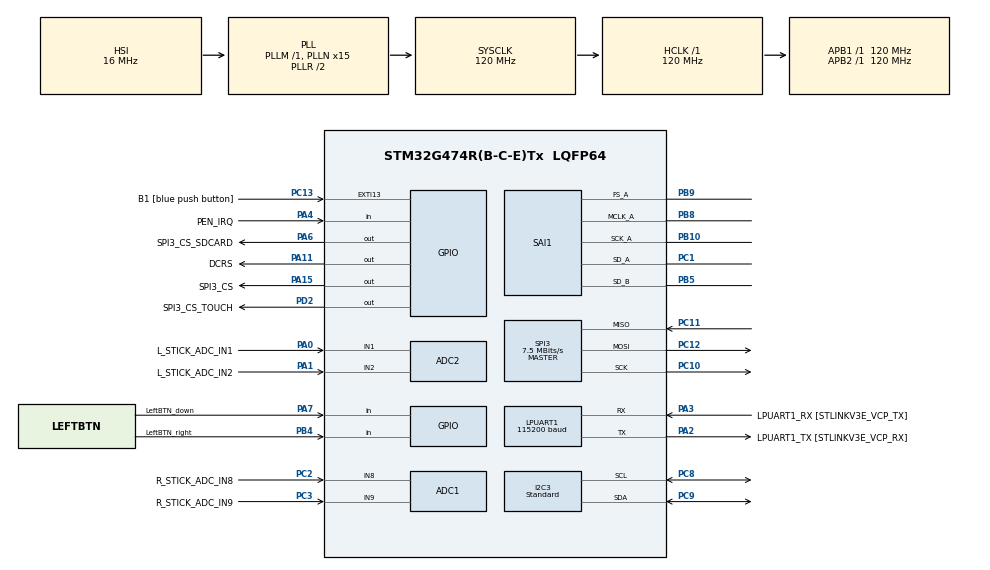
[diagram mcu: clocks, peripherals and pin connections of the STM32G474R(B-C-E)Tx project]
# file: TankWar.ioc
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ADC1.Channel-1\#ChannelRegularConversion=ADC_CHANNEL_8
ADC1.Channel-2\#ChannelRegularConversion=ADC_CHANNEL_9
ADC1.ContinuousConvMode=DISABLE
ADC1.DiscontinuousConvMode=ENABLE
ADC1.NbrOfConversion=2
ADC1.NbrOfConversionFlag=1
ADC1.OffsetNumber-1\#ChannelRegularConversion=ADC_OFFSET_NONE
ADC1.OffsetNumber-2\#ChannelRegularConversion=ADC_OFFSET_NONE
ADC1.Overrun=ADC_OVR_DATA_PRESERVED
ADC1.Rank-1\#ChannelRegularConversion=1
ADC1.Rank-2\#ChannelRegularConversion=2
ADC1.SamplingTime-1\#ChannelRegularConversion=ADC_SAMPLETIME_6CYCLES_5
ADC1.SamplingTime-2\#ChannelRegularConversion=ADC_SAMPLETIME_6CYCLES_5
ADC1.master=1
ADC2.Channel-0\#ChannelRegularConversion=ADC_CHANNEL_1
ADC2.Channel-1\#ChannelRegularConversion=ADC_CHANNEL_2
ADC2.ContinuousConvMode=DISABLE
ADC2.DiscontinuousConvMode=ENABLE
ADC2.NbrOfConversion=2
ADC2.NbrOfConversionFlag=1
ADC2.OffsetNumber-0\#ChannelRegularConversion=ADC_OFFSET_NONE
ADC2.OffsetNumber-1\#ChannelRegularConversion=ADC_OFFSET_NONE
ADC2.Overrun=ADC_OVR_DATA_PRESERVED
ADC2.Rank-0\#ChannelRegularConversion=1
ADC2.Rank-1\#ChannelRegularConversion=2
ADC2.SamplingTime-0\#ChannelRegularConversion=ADC_SAMPLETIME_6CYCLES_5
ADC2.SamplingTime-1\#ChannelRegularConversion=ADC_SAMPLETIME_6CYCLES_5
Dma.Request0=SAI1_A
Dma.SAI1_A.0.Direction=DMA_MEMORY_TO_PERIPH
Dma.SAI1_A.0.EventEnable=DISABLE
Dma.SAI1_A.0.Instance=DMA1_Channel3
Dma.SAI1_A.0.MemDataAlignment=DMA_MDATAALIGN_HALFWORD
Dma.SAI1_A.0.MemInc=DMA_MINC_ENABLE
Dma.SAI1_A.0.Mode=DMA_NORMAL
Dma.SAI1_A.0.PeriphDataAlignment=DMA_PDATAALIGN_HALFWORD
Dma.SAI1_A.0.PeriphInc=DMA_PINC_DISABLE
Dma.SAI1_A.0.Polarity=HAL_DMAMUX_REQ_GEN_RISING
Dma.SAI1_A.0.Priority=DMA_PRIORITY_LOW
Dma.SAI1_A.0.RequestNumber=1
Dma.SAI1_A.0.SignalID=NONE
Dma.SAI1_A.0.SyncEnable=DISABLE
Dma.SAI1_A.0.SyncPolarity=HAL_DMAMUX_SYNC_NO_EVENT
Dma.SAI1_A.0.SyncRequestNumber=1
Dma.SAI1_A.0.SyncSignalID=NONE
I2C3.I2C_Speed_Mode=I2C_Standard
I2C3.Timing=0x307075B1
LPUART1.BaudRate=115200
LPUART1.WordLength=UART_WORDLENGTH_8B
Mcu.Family=STM32G4
Mcu.Name=STM32G474R(B-C-E)Tx
Mcu.Package=LQFP64
NVIC.DMA1_Channel3_IRQn=true\:0\:0\:false\:false\:true\:false\:true\:true
NVIC.EXTI15_10_IRQn=true\:0\:0\:false\:false\:true\:true\:true\:true
NVIC.PriorityGroup=NVIC_PRIORITYGROUP_4
NVIC.RNG_IRQn=true\:0\:0\:false\:false\:true\:true\:true\:true
NVIC.TIM4_IRQn=true\:0\:0\:false\:false\:true\:true\:true\:true
NVIC.TIM5_IRQn=true\:0\:0\:false\:false\:true\:true\:true\:true
NVIC.TIM6_DAC_IRQn=true\:0\:0\:false\:false\:true\:true\:true\:true
PA0.GPIO_Label=L_STICK_ADC_IN1
PA0.Mode=IN1-Single-Ended
PA0.Signal=ADC2_IN1
PA1.GPIO_Label=L_STICK_ADC_IN2
PA1.Mode=IN2-Single-Ended
PA1.Signal=ADC2_IN2
PA11.GPIO_Label=DCRS
PA11.GPIO_Speed=GPIO_SPEED_FREQ_VERY_HIGH
PA11.Signal=GPIO_Output
PA13.GPIO_Label=T_SWDIO
PA13.Mode=Serial_Wire
PA13.Signal=SYS_JTMS-SWDIO
PA14.GPIO_Label=T_SWCLK
PA14.Mode=Serial_Wire
PA14.Signal=SYS_JTCK-SWCLK
PA15.GPIO_Label=SPI3_CS
PA15.GPIO_PuPd=GPIO_PULLUP
PA15.GPIO_Speed=GPIO_SPEED_FREQ_VERY_HIGH
PA15.PinState=GPIO_PIN_SET
PA15.Signal=GPIO_Output
PA2.GPIO_Label=LPUART1_TX [STLINKV3E_VCP_RX]
PA2.Mode=Asynchronous
PA2.Signal=LPUART1_TX
PA3.GPIO_Label=LPUART1_RX [STLINKV3E_VCP_TX]
PA3.Mode=Asynchronous
PA3.Signal=LPUART1_RX
PA4.GPIO_Label=PEN_IRQ
PA4.GPIO_PuPd=GPIO_NOPULL
PA4.Signal=GPIO_Input
PA6.GPIO_Label=SPI3_CS_SDCARD
PA6.GPIO_PuPd=GPIO_PULLUP
PA6.GPIO_Speed=GPIO_SPEED_FREQ_VERY_HIGH
PA6.PinState=GPIO_PIN_SET
PA6.Signal=GPIO_Output
PA7.GPIO_Label=LeftBTN_down
PA7.GPIO_PuPd=GPIO_PULLUP
PA7.Signal=GPIO_Input
PB10.GPIO_Speed=GPIO_SPEED_FREQ_VERY_HIGH
PB10.Mode=SAI_A_MasterWithClock
PB10.Signal=SAI1_SCK_A
PB3.GPIO_Label=T_SWO
PB3.Signal=SYS_JTDO-SWO
PB4.GPIO_Label=LeftBTN_right
PB4.GPIO_PuPd=GPIO_PULLUP
PB4.Signal=GPIO_Input
PB5.GPIO_Speed=GPIO_SPEED_FREQ_VERY_HIGH
PB5.Mode=SAI_B_SyncSlave
PB5.Signal=SAI1_SD_B
PB8-BOOT0.GPIO_FM8=SYSCFG_FASTMODEPLUS_PB8
PB8-BOOT0.GPIO_Speed=GPIO_SPEED_FREQ_VERY_HIGH
PB8-BOOT0.Mode=SAI_A_MasterWithClock
PB8-BOOT0.Signal=SAI1_MCLK_A
PB9.GPIO_FM9=SYSCFG_FASTMODEPLUS_PB9
PB9.GPIO_Speed=GPIO_SPEED_FREQ_VERY_HIGH
PB9.Mode=SAI_A_MasterWithClock
PB9.Signal=SAI1_FS_A
PC1.GPIO_Speed=GPIO_SPEED_FREQ_VERY_HIGH
PC1.Mode=SAI_A_MasterWithClock
PC1.Signal=SAI1_SD_A
PC10.Mode=Full_Duplex_Master
PC10.Signal=SPI3_SCK
PC11.Mode=Full_Duplex_Master
PC11.Signal=SPI3_MISO
PC12.Mode=Full_Duplex_Master
PC12.Signal=SPI3_MOSI
PC13.GPIO_Label=B1 [blue push button]
PC13.Signal=GPXTI13
PC14-OSC32_IN.Mode=LSE-External-Oscillator
PC14-OSC32_IN.Signal=RCC_OSC32_IN
PC15-OSC32_OUT.Mode=LSE-External-Oscillator
PC15-OSC32_OUT.Signal=RCC_OSC32_OUT
PC2.GPIO_Label=R_STICK_ADC_IN8
PC2.Mode=IN8-Single-Ended
PC2.Signal=ADC1_IN8
PC3.GPIO_Label=R_STICK_ADC_IN9
PC3.Mode=IN9-Single-Ended
PC3.Signal=ADC1_IN9
PC8.GPIO_Speed=GPIO_SPEED_FREQ_LOW
PC8.Mode=I2C
PC8.Signal=I2C3_SCL
PC9.GPIO_Speed=GPIO_SPEED_FREQ_LOW
PC9.Mode=I2C
PC9.Signal=I2C3_SDA
PD2.GPIO_Label=SPI3_CS_TOUCH
PD2.GPIO_PuPd=GPIO_PULLUP
PD2.GPIO_Speed=GPIO_SPEED_FREQ_VERY_HIGH
PD2.PinState=GPIO_PIN_SET
PD2.Signal=GPIO_Output
PF0-OSC_IN.Mode=HSE-External-Oscillator
PF0-OSC_IN.Signal=RCC_OSC_IN
PF1-OSC_OUT.Mode=HSE-External-Oscillator
PF1-OSC_OUT.Signal=RCC_OSC_OUT
ProjectManager.HeapSize=0x200
ProjectManager.StackSize=0x400
ProjectManager.TargetToolchain=STM32CubeIDE
RCC.ADC12Freq_Value=120000000
RCC.ADC345Freq_Value=120000000
RCC.AHBFreq_Value=120000000
RCC.APB1Freq_Value=120000000
RCC.APB1TimFreq_Value=120000000
RCC.APB2Freq_Value=120000000
RCC.APB2TimFreq_Value=120000000
RCC.CK48CLockSelection=RCC_USBCLKSOURCE_HSI48
RCC.CortexFreq_Value=120000000
RCC.EXTERNAL_CLOCK_VALUE=12288000
RCC.HCLKFreq_Value=120000000
RCC.HSE_VALUE=24000000
RCC.HSI48_VALUE=48000000
RCC.HSI_VALUE=16000000
RCC.PLLN=15
RCC.RTCClockSelection=RCC_RTCCLKSOURCE_LSE
RCC.SYSCLKFreq_VALUE=120000000
RCC.SYSCLKSource=RCC_SYSCLKSOURCE_PLLCLK
RCC.USBFreq_Value=48000000
RCC.VCOOutputFreq_Value=240000000
SAI1.AudioFrequency-SAI_A_MasterWithClock=SAI_AUDIO_FREQUENCY_22K
SAI1.InitProtocol-SAI_A_MasterWithClock=Enable
SAI1.InitProtocol-SAI_B_SyncSlave=Enable
SAI1.Instance-SAI_A_MasterWithClock=SAI$Index_Block_A
SAI1.Instance-SAI_B_SyncSlave=SAI$Index_Block_B
SAI1.MckOutput-SAI_A_MasterWithClock=SAI_MCK_OUTPUT_ENABLE
SAI1.OutputDrive-SAI_A_MasterWithClock=SAI_OUTPUTDRIVE_ENABLE
SAI1.TriState-SAI_B_SyncSlave=SAI_OUTPUT_RELEASED
SAI1.VirtualMode-SAI_A_MasterWithClock=VM_MASTER
SAI1.VirtualMode-SAI_B_SyncSlave=VM_SLAVE
SAI1.VirtualProtocol-SAI_A_BASIC=VM_BASIC_PROTOCOL
SAI1.VirtualProtocol-SAI_B_BASIC=VM_BASIC_PROTOCOL
SPI3.BaudRatePrescaler=SPI_BAUDRATEPRESCALER_16
SPI3.CalculateBaudRate=7.5 MBits/s
SPI3.DataSize=SPI_DATASIZE_8BIT
SPI3.Direction=SPI_DIRECTION_2LINES
SPI3.Mode=SPI_MODE_MASTER
SPI3.VirtualType=VM_MASTER
TIM4.AutoReloadPreload=TIM_AUTORELOAD_PRELOAD_ENABLE
TIM4.PeriodNoDither=100-1
TIM4.Prescaler=1200-1
TIM5.AutoReloadPreload=TIM_AUTORELOAD_PRELOAD_ENABLE
TIM5.PeriodNoDither=1000-1
TIM5.Prescaler=1200-1
TIM6.AutoReloadPreload=TIM_AUTORELOAD_PRELOAD_ENABLE
TIM6.PeriodNoDither=10000-1
TIM6.Prescaler=12000-1
VP_RNG_VS_RNG.Mode=RNG_Activate
VP_SAI1_VP_$IpInstance_SAIA_SAI_BASIC.Mode=SAI_A_BASIC
VP_SAI1_VP_$IpInstance_SAIB_SAI_BASIC.Mode=SAI_B_BASIC
VP_SYS_VS_DBSignals.Mode=DisableDeadBatterySignals
VP_TIM4_VS_ClockSourceINT.Mode=Internal
VP_TIM5_VS_ClockSourceINT.Mode=Internal
VP_TIM6_VS_ClockSourceINT.Mode=Enable_Timer
board=NUCLEO-G474RE

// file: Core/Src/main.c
/* USER CODE BEGIN Header */
/**
  ******************************************************************************
  * @file           : main.c
  * @brief          : Main program body
  ******************************************************************************
  * @attention
  *
  * Copyright (c) 2023 STMicroelectronics.
  * All rights reserved.
  *
  * This software is licensed under terms that can be found in the LICENSE file
  * in the root directory of this software component.
  * If no LICENSE file comes with this software, it is provided AS-IS.
  *
  ******************************************************************************
  */
/* USER CODE END Header */
#include "main.h"

/* USER CODE BEGIN Includes */
#include "mainMenu.h"
/* USER CODE END Includes */

ADC_HandleTypeDef hadc1;
ADC_HandleTypeDef hadc2;

I2C_HandleTypeDef hi2c3;

UART_HandleTypeDef hlpuart1;

RNG_HandleTypeDef hrng;

SAI_HandleTypeDef hsai_BlockA1;
SAI_HandleTypeDef hsai_BlockB1;
DMA_HandleTypeDef hdma_sai1_a;

TIM_HandleTypeDef htim4;
TIM_HandleTypeDef htim5;
TIM_HandleTypeDef htim6;

void SystemClock_Config(void);
static void MX_GPIO_Init(void);
static void MX_DMA_Init(void);
static void MX_LPUART1_UART_Init(void);
static void MX_SPI3_Init(void);
static void MX_TIM6_Init(void);
static void MX_ADC1_Init(void);
static void MX_ADC2_Init(void);
static void MX_RNG_Init(void);
static void MX_TIM4_Init(void);
static void MX_TIM5_Init(void);
static void MX_I2C3_Init(void);
static void MX_SAI1_Init(void);
/* USER CODE BEGIN PFP */
void HAL_TIM_PeriodElapsedCallback(TIM_HandleTypeDef *htim);
/* USER CODE END PFP */

/* USER CODE BEGIN 0 */

#ifdef __GNUC__
#define PUTCHAR_PROTOTYPE int __io_putchar(int ch)
#else
#define PUTCHAR_PROTOTYPE int fputc(int ch, FILE *f)
#endif /* __GNUC__ */
PUTCHAR_PROTOTYPE
{
    HAL_UART_Transmit(&hlpuart1, (uint8_t *)&ch, 1, 0xFFFF);
    return ch;
}

/* USER CODE END 0 */

int main(void)
{

  /* MCU Configuration--------------------------------------------------------*/

  /* Reset of all peripherals, Initializes the Flash interface and the Systick. */
  HAL_Init();

  /* Configure the system clock */
  SystemClock_Config();

  /* Initialize all configured peripherals */
  MX_GPIO_Init();
  MX_DMA_Init();
  MX_LPUART1_UART_Init();
  MX_SPI3_Init();
  MX_TIM6_Init();
  MX_ADC1_Init();
  MX_ADC2_Init();
  MX_RNG_Init();
  MX_TIM4_Init();
  MX_TIM5_Init();
  MX_I2C3_Init();
  MX_SAI1_Init();
  /* USER CODE BEGIN 2 */
    SPI_DMAInit();
    ES8388_init();
  /* USER CODE END 2 */

  /* Infinite loop */
  /* USER CODE BEGIN WHILE */
    LL_mDelay(200);	// 等待200ms以让LCD稳定
    LCD_Init();		// 初始化LCD
    LL_mDelay(100);	// 等待100ms以让LCD稳定
    LCD_Fill(30,20,420,280,gImage_MainMenu);
  while (1)
  {
      gameBegin();

    /* USER CODE END WHILE */

  }
}

void SystemClock_Config(void)
{
  RCC_OscInitTypeDef RCC_OscInitStruct = {0};
  RCC_ClkInitTypeDef RCC_ClkInitStruct = {0};

  /** Configure the main internal regulator output voltage
  */
  HAL_PWREx_ControlVoltageScaling(PWR_REGULATOR_VOLTAGE_SCALE1);

  /** Initializes the RCC Oscillators according to the specified parameters
  * in the RCC_OscInitTypeDef structure.
  */
  RCC_OscInitStruct.OscillatorType = RCC_OSCILLATORTYPE_HSI|RCC_OSCILLATORTYPE_HSI48;
  RCC_OscInitStruct.HSIState = RCC_HSI_ON;
  RCC_OscInitStruct.HSICalibrationValue = RCC_HSICALIBRATION_DEFAULT;
  RCC_OscInitStruct.HSI48State = RCC_HSI48_ON;
  RCC_OscInitStruct.PLL.PLLState = RCC_PLL_ON;
  RCC_OscInitStruct.PLL.PLLSource = RCC_PLLSOURCE_HSI;
  RCC_OscInitStruct.PLL.PLLM = RCC_PLLM_DIV1;
  RCC_OscInitStruct.PLL.PLLN = 15;
  RCC_OscInitStruct.PLL.PLLP = RCC_PLLP_DIV2;
  RCC_OscInitStruct.PLL.PLLQ = RCC_PLLQ_DIV2;
  RCC_OscInitStruct.PLL.PLLR = RCC_PLLR_DIV2;
  if (HAL_RCC_OscConfig(&RCC_OscInitStruct) != HAL_OK)
  {
    Error_Handler();
  }

  /** Initializes the CPU, AHB and APB buses clocks
  */
  RCC_ClkInitStruct.ClockType = RCC_CLOCKTYPE_HCLK|RCC_CLOCKTYPE_SYSCLK
                              |RCC_CLOCKTYPE_PCLK1|RCC_CLOCKTYPE_PCLK2;
  RCC_ClkInitStruct.SYSCLKSource = RCC_SYSCLKSOURCE_PLLCLK;
  RCC_ClkInitStruct.AHBCLKDivider = RCC_SYSCLK_DIV1;
  RCC_ClkInitStruct.APB1CLKDivider = RCC_HCLK_DIV1;
  RCC_ClkInitStruct.APB2CLKDivider = RCC_HCLK_DIV1;

  if (HAL_RCC_ClockConfig(&RCC_ClkInitStruct, FLASH_LATENCY_3) != HAL_OK)
  {
    Error_Handler();
  }
}

static void MX_ADC1_Init(void)
{

  ADC_MultiModeTypeDef multimode = {0};
  ADC_ChannelConfTypeDef sConfig = {0};

  /** Common config
  */
  hadc1.Instance = ADC1;
  hadc1.Init.ClockPrescaler = ADC_CLOCK_SYNC_PCLK_DIV2;
  hadc1.Init.Resolution = ADC_RESOLUTION_12B;
  hadc1.Init.DataAlign = ADC_DATAALIGN_RIGHT;
  hadc1.Init.GainCompensation = 0;
  hadc1.Init.ScanConvMode = ADC_SCAN_ENABLE;
  hadc1.Init.EOCSelection = ADC_EOC_SINGLE_CONV;
  hadc1.Init.LowPowerAutoWait = DISABLE;
  hadc1.Init.ContinuousConvMode = DISABLE;
  hadc1.Init.NbrOfConversion = 2;
  hadc1.Init.DiscontinuousConvMode = ENABLE;
  hadc1.Init.NbrOfDiscConversion = 1;
  hadc1.Init.ExternalTrigConv = ADC_SOFTWARE_START;
  hadc1.Init.ExternalTrigConvEdge = ADC_EXTERNALTRIGCONVEDGE_NONE;
  hadc1.Init.DMAContinuousRequests = DISABLE;
  hadc1.Init.Overrun = ADC_OVR_DATA_PRESERVED;
  hadc1.Init.OversamplingMode = DISABLE;
  if (HAL_ADC_Init(&hadc1) != HAL_OK)
  {
    Error_Handler();
  }

  /** Configure the ADC multi-mode
  */
  multimode.Mode = ADC_MODE_INDEPENDENT;
  if (HAL_ADCEx_MultiModeConfigChannel(&hadc1, &multimode) != HAL_OK)
  {
    Error_Handler();
  }

  /** Configure Regular Channel
  */
  sConfig.Channel = ADC_CHANNEL_8;
  sConfig.Rank = ADC_REGULAR_RANK_1;
  sConfig.SamplingTime = ADC_SAMPLETIME_6CYCLES_5;
  sConfig.SingleDiff = ADC_SINGLE_ENDED;
  sConfig.OffsetNumber = ADC_OFFSET_NONE;
  sConfig.Offset = 0;
  if (HAL_ADC_ConfigChannel(&hadc1, &sConfig) != HAL_OK)
  {
    Error_Handler();
  }

  /** Configure Regular Channel
  */
  sConfig.Channel = ADC_CHANNEL_9;
  sConfig.Rank = ADC_REGULAR_RANK_2;
  if (HAL_ADC_ConfigChannel(&hadc1, &sConfig) != HAL_OK)
  {
    Error_Handler();
  }
  /* USER CODE BEGIN ADC1_Init 2 */
//    HAL_ADC_Start(&hadc1);
  /* USER CODE END ADC1_Init 2 */

}

static void MX_ADC2_Init(void)
{

  ADC_ChannelConfTypeDef sConfig = {0};

  /** Common config
  */
  hadc2.Instance = ADC2;
  hadc2.Init.ClockPrescaler = ADC_CLOCK_SYNC_PCLK_DIV2;
  hadc2.Init.Resolution = ADC_RESOLUTION_12B;
  hadc2.Init.DataAlign = ADC_DATAALIGN_RIGHT;
  hadc2.Init.GainCompensation = 0;
  hadc2.Init.ScanConvMode = ADC_SCAN_ENABLE;
  hadc2.Init.EOCSelection = ADC_EOC_SINGLE_CONV;
  hadc2.Init.LowPowerAutoWait = DISABLE;
  hadc2.Init.ContinuousConvMode = DISABLE;
  hadc2.Init.NbrOfConversion = 2;
  hadc2.Init.DiscontinuousConvMode = ENABLE;
  hadc2.Init.NbrOfDiscConversion = 1;
  hadc2.Init.ExternalTrigConv = ADC_SOFTWARE_START;
  hadc2.Init.ExternalTrigConvEdge = ADC_EXTERNALTRIGCONVEDGE_NONE;
  hadc2.Init.DMAContinuousRequests = DISABLE;
  hadc2.Init.Overrun = ADC_OVR_DATA_PRESERVED;
  hadc2.Init.OversamplingMode = DISABLE;
  if (HAL_ADC_Init(&hadc2) != HAL_OK)
  {
    Error_Handler();
  }

  /** Configure Regular Channel
  */
  sConfig.Channel = ADC_CHANNEL_1;
  sConfig.Rank = ADC_REGULAR_RANK_1;
  sConfig.SamplingTime = ADC_SAMPLETIME_6CYCLES_5;
  sConfig.SingleDiff = ADC_SINGLE_ENDED;
  sConfig.OffsetNumber = ADC_OFFSET_NONE;
  sConfig.Offset = 0;
  if (HAL_ADC_ConfigChannel(&hadc2, &sConfig) != HAL_OK)
  {
    Error_Handler();
  }

  /** Configure Regular Channel
  */
  sConfig.Channel = ADC_CHANNEL_2;
  sConfig.Rank = ADC_REGULAR_RANK_2;
  if (HAL_ADC_ConfigChannel(&hadc2, &sConfig) != HAL_OK)
  {
    Error_Handler();
  }
  /* USER CODE BEGIN ADC2_Init 2 */
//    HAL_ADC_Start(&hadc2);
  /* USER CODE END ADC2_Init 2 */

}

static void MX_I2C3_Init(void)
{

  hi2c3.Instance = I2C3;
  hi2c3.Init.Timing = 0x307075B1;
  hi2c3.Init.OwnAddress1 = 0;
  hi2c3.Init.AddressingMode = I2C_ADDRESSINGMODE_7BIT;
  hi2c3.Init.DualAddressMode = I2C_DUALADDRESS_DISABLE;
  hi2c3.Init.OwnAddress2 = 0;
  hi2c3.Init.OwnAddress2Masks = I2C_OA2_NOMASK;
  hi2c3.Init.GeneralCallMode = I2C_GENERALCALL_DISABLE;
  hi2c3.Init.NoStretchMode = I2C_NOSTRETCH_DISABLE;
  if (HAL_I2C_Init(&hi2c3) != HAL_OK)
  {
    Error_Handler();
  }

  /** Configure Analogue filter
  */
  if (HAL_I2CEx_ConfigAnalogFilter(&hi2c3, I2C_ANALOGFILTER_ENABLE) != HAL_OK)
  {
    Error_Handler();
  }

  /** Configure Digital filter
  */
  if (HAL_I2CEx_ConfigDigitalFilter(&hi2c3, 0) != HAL_OK)
  {
    Error_Handler();
  }

}

static void MX_LPUART1_UART_Init(void)
{

  hlpuart1.Instance = LPUART1;
  hlpuart1.Init.BaudRate = 115200;
  hlpuart1.Init.WordLength = UART_WORDLENGTH_8B;
  hlpuart1.Init.StopBits = UART_STOPBITS_1;
  hlpuart1.Init.Parity = UART_PARITY_NONE;
  hlpuart1.Init.Mode = UART_MODE_TX_RX;
  hlpuart1.Init.HwFlowCtl = UART_HWCONTROL_NONE;
  hlpuart1.Init.OneBitSampling = UART_ONE_BIT_SAMPLE_DISABLE;
  hlpuart1.Init.ClockPrescaler = UART_PRESCALER_DIV1;
  hlpuart1.AdvancedInit.AdvFeatureInit = UART_ADVFEATURE_NO_INIT;
  if (HAL_UART_Init(&hlpuart1) != HAL_OK)
  {
    Error_Handler();
  }
  if (HAL_UARTEx_SetTxFifoThreshold(&hlpuart1, UART_TXFIFO_THRESHOLD_1_8) != HAL_OK)
  {
    Error_Handler();
  }
  if (HAL_UARTEx_SetRxFifoThreshold(&hlpuart1, UART_RXFIFO_THRESHOLD_1_8) != HAL_OK)
  {
    Error_Handler();
  }
  if (HAL_UARTEx_DisableFifoMode(&hlpuart1) != HAL_OK)
  {
    Error_Handler();
  }

}

static void MX_RNG_Init(void)
{

  hrng.Instance = RNG;
  hrng.Init.ClockErrorDetection = RNG_CED_ENABLE;
  if (HAL_RNG_Init(&hrng) != HAL_OK)
  {
    Error_Handler();
  }

}

static void MX_SAI1_Init(void)
{

  hsai_BlockA1.Instance = SAI1_Block_A;
  hsai_BlockA1.Init.AudioMode = SAI_MODEMASTER_TX;
  hsai_BlockA1.Init.Synchro = SAI_ASYNCHRONOUS;
  hsai_BlockA1.Init.OutputDrive = SAI_OUTPUTDRIVE_ENABLE;
  hsai_BlockA1.Init.NoDivider = SAI_MASTERDIVIDER_ENABLE;
  hsai_BlockA1.Init.MckOverSampling = SAI_MCK_OVERSAMPLING_DISABLE;
  hsai_BlockA1.Init.FIFOThreshold = SAI_FIFOTHRESHOLD_EMPTY;
  hsai_BlockA1.Init.AudioFrequency = SAI_AUDIO_FREQUENCY_22K;
  hsai_BlockA1.Init.SynchroExt = SAI_SYNCEXT_DISABLE;
  hsai_BlockA1.Init.MonoStereoMode = SAI_STEREOMODE;
  hsai_BlockA1.Init.CompandingMode = SAI_NOCOMPANDING;
  hsai_BlockA1.Init.TriState = SAI_OUTPUT_NOTRELEASED;
  if (HAL_SAI_InitProtocol(&hsai_BlockA1, SAI_I2S_STANDARD, SAI_PROTOCOL_DATASIZE_16BIT, 2) != HAL_OK)
  {
    Error_Handler();
  }
  hsai_BlockB1.Instance = SAI1_Block_B;
  hsai_BlockB1.Init.AudioMode = SAI_MODESLAVE_RX;
  hsai_BlockB1.Init.Synchro = SAI_SYNCHRONOUS;
  hsai_BlockB1.Init.OutputDrive = SAI_OUTPUTDRIVE_DISABLE;
  hsai_BlockB1.Init.FIFOThreshold = SAI_FIFOTHRESHOLD_EMPTY;
  hsai_BlockB1.Init.SynchroExt = SAI_SYNCEXT_DISABLE;
  hsai_BlockB1.Init.MonoStereoMode = SAI_STEREOMODE;
  hsai_BlockB1.Init.CompandingMode = SAI_NOCOMPANDING;
  hsai_BlockB1.Init.TriState = SAI_OUTPUT_RELEASED;
  if (HAL_SAI_InitProtocol(&hsai_BlockB1, SAI_I2S_STANDARD, SAI_PROTOCOL_DATASIZE_16BIT, 2) != HAL_OK)
  {
    Error_Handler();
  }

}

static void MX_SPI3_Init(void)
{

  LL_SPI_InitTypeDef SPI_InitStruct = {0};

  LL_GPIO_InitTypeDef GPIO_InitStruct = {0};

  /* Peripheral clock enable */
  LL_APB1_GRP1_EnableClock(LL_APB1_GRP1_PERIPH_SPI3);

  LL_AHB2_GRP1_EnableClock(LL_AHB2_GRP1_PERIPH_GPIOC);
  /**SPI3 GPIO Configuration
  PC10   ------> SPI3_SCK
  PC11   ------> SPI3_MISO
  PC12   ------> SPI3_MOSI
  */
  GPIO_InitStruct.Pin = LL_GPIO_PIN_10;
  GPIO_InitStruct.Mode = LL_GPIO_MODE_ALTERNATE;
  GPIO_InitStruct.Speed = LL_GPIO_SPEED_FREQ_LOW;
  GPIO_InitStruct.OutputType = LL_GPIO_OUTPUT_PUSHPULL;
  GPIO_InitStruct.Pull = LL_GPIO_PULL_NO;
  GPIO_InitStruct.Alternate = LL_GPIO_AF_6;
  LL_GPIO_Init(GPIOC, &GPIO_InitStruct);

  GPIO_InitStruct.Pin = LL_GPIO_PIN_11;
  GPIO_InitStruct.Mode = LL_GPIO_MODE_ALTERNATE;
  GPIO_InitStruct.Speed = LL_GPIO_SPEED_FREQ_LOW;
  GPIO_InitStruct.OutputType = LL_GPIO_OUTPUT_PUSHPULL;
  GPIO_InitStruct.Pull = LL_GPIO_PULL_NO;
  GPIO_InitStruct.Alternate = LL_GPIO_AF_6;
  LL_GPIO_Init(GPIOC, &GPIO_InitStruct);

  GPIO_InitStruct.Pin = LL_GPIO_PIN_12;
  GPIO_InitStruct.Mode = LL_GPIO_MODE_ALTERNATE;
  GPIO_InitStruct.Speed = LL_GPIO_SPEED_FREQ_LOW;
  GPIO_InitStruct.OutputType = LL_GPIO_OUTPUT_PUSHPULL;
  GPIO_InitStruct.Pull = LL_GPIO_PULL_NO;
  GPIO_InitStruct.Alternate = LL_GPIO_AF_6;
  LL_GPIO_Init(GPIOC, &GPIO_InitStruct);

  /* SPI3 parameter configuration*/
  SPI_InitStruct.TransferDirection = LL_SPI_FULL_DUPLEX;
  SPI_InitStruct.Mode = LL_SPI_MODE_MASTER;
  SPI_InitStruct.DataWidth = LL_SPI_DATAWIDTH_8BIT;
  SPI_InitStruct.ClockPolarity = LL_SPI_POLARITY_LOW;
  SPI_InitStruct.ClockPhase = LL_SPI_PHASE_1EDGE;
  SPI_InitStruct.NSS = LL_SPI_NSS_SOFT;
  SPI_InitStruct.BaudRate = LL_SPI_BAUDRATEPRESCALER_DIV16;
  SPI_InitStruct.BitOrder = LL_SPI_MSB_FIRST;
  SPI_InitStruct.CRCCalculation = LL_SPI_CRCCALCULATION_DISABLE;
  SPI_InitStruct.CRCPoly = 7;
  LL_SPI_Init(SPI3, &SPI_InitStruct);
  LL_SPI_SetStandard(SPI3, LL_SPI_PROTOCOL_MOTOROLA);
  LL_SPI_EnableNSSPulseMgt(SPI3);
  /* USER CODE BEGIN SPI3_Init 2 */
    LL_SPI_Enable(SPI3);
  /* USER CODE END SPI3_Init 2 */

}

static void MX_TIM4_Init(void)
{

  TIM_ClockConfigTypeDef sClockSourceConfig = {0};
  TIM_MasterConfigTypeDef sMasterConfig = {0};

  htim4.Instance = TIM4;
  htim4.Init.Prescaler = 1200-1;
  htim4.Init.CounterMode = TIM_COUNTERMODE_UP;
  htim4.Init.Period = 99;
  htim4.Init.ClockDivision = TIM_CLOCKDIVISION_DIV1;
  htim4.Init.AutoReloadPreload = TIM_AUTORELOAD_PRELOAD_ENABLE;
  if (HAL_TIM_Base_Init(&htim4) != HAL_OK)
  {
    Error_Handler();
  }
  sClockSourceConfig.ClockSource = TIM_CLOCKSOURCE_INTERNAL;
  if (HAL_TIM_ConfigClockSource(&htim4, &sClockSourceConfig) != HAL_OK)
  {
    Error_Handler();
  }
  sMasterConfig.MasterOutputTrigger = TIM_TRGO_RESET;
  sMasterConfig.MasterSlaveMode = TIM_MASTERSLAVEMODE_DISABLE;
  if (HAL_TIMEx_MasterConfigSynchronization(&htim4, &sMasterConfig) != HAL_OK)
  {
    Error_Handler();
  }
  /* USER CODE BEGIN TIM4_Init 2 */
    HAL_TIM_Base_Start_IT(&htim4);
  /* USER CODE END TIM4_Init 2 */

}

static void MX_TIM5_Init(void)
{

  TIM_ClockConfigTypeDef sClockSourceConfig = {0};
  TIM_MasterConfigTypeDef sMasterConfig = {0};

  htim5.Instance = TIM5;
  htim5.Init.Prescaler = 1200-1;
  htim5.Init.CounterMode = TIM_COUNTERMODE_UP;
  htim5.Init.Period = 999;
  htim5.Init.ClockDivision = TIM_CLOCKDIVISION_DIV1;
  htim5.Init.AutoReloadPreload = TIM_AUTORELOAD_PRELOAD_ENABLE;
  if (HAL_TIM_Base_Init(&htim5) != HAL_OK)
  {
    Error_Handler();
  }
  sClockSourceConfig.ClockSource = TIM_CLOCKSOURCE_INTERNAL;
  if (HAL_TIM_ConfigClockSource(&htim5, &sClockSourceConfig) != HAL_OK)
  {
    Error_Handler();
  }
  sMasterConfig.MasterOutputTrigger = TIM_TRGO_RESET;
  sMasterConfig.MasterSlaveMode = TIM_MASTERSLAVEMODE_DISABLE;
  if (HAL_TIMEx_MasterConfigSynchronization(&htim5, &sMasterConfig) != HAL_OK)
  {
    Error_Handler();
  }
  /* USER CODE BEGIN TIM5_Init 2 */
    HAL_TIM_Base_Start_IT(&htim5);
  /* USER CODE END TIM5_Init 2 */

}

static void MX_TIM6_Init(void)
{

  TIM_MasterConfigTypeDef sMasterConfig = {0};

  htim6.Instance = TIM6;
  htim6.Init.Prescaler = 12000-1;
  htim6.Init.CounterMode = TIM_COUNTERMODE_UP;
  htim6.Init.Period = 9999;
  htim6.Init.AutoReloadPreload = TIM_AUTORELOAD_PRELOAD_ENABLE;
  if (HAL_TIM_Base_Init(&htim6) != HAL_OK)
  {
    Error_Handler();
  }
  sMasterConfig.MasterOutputTrigger = TIM_TRGO_RESET;
  sMasterConfig.MasterSlaveMode = TIM_MASTERSLAVEMODE_DISABLE;
  if (HAL_TIMEx_MasterConfigSynchronization(&htim6, &sMasterConfig) != HAL_OK)
  {
    Error_Handler();
  }
  /* USER CODE BEGIN TIM6_Init 2 */
    HAL_TIM_Base_Start_IT(&htim6);
  /* USER CODE END TIM6_Init 2 */

}

static void MX_DMA_Init(void)
{

  /* Init with LL driver */
  /* DMA controller clock enable */
  LL_AHB1_GRP1_EnableClock(LL_AHB1_GRP1_PERIPH_DMAMUX1);
  LL_AHB1_GRP1_EnableClock(LL_AHB1_GRP1_PERIPH_DMA1);

  /* DMA interrupt init */
  /* DMA1_Channel3_IRQn interrupt configuration */
  HAL_NVIC_SetPriority(DMA1_Channel3_IRQn, 0, 0);
  HAL_NVIC_EnableIRQ(DMA1_Channel3_IRQn);

}

static void MX_GPIO_Init(void)
{
  GPIO_InitTypeDef GPIO_InitStruct = {0};

  /* GPIO Ports Clock Enable */
  __HAL_RCC_GPIOC_CLK_ENABLE();
  __HAL_RCC_GPIOF_CLK_ENABLE();
  __HAL_RCC_GPIOA_CLK_ENABLE();
  __HAL_RCC_GPIOB_CLK_ENABLE();
  __HAL_RCC_GPIOD_CLK_ENABLE();

  /*Configure GPIO pin Output Level */
  HAL_GPIO_WritePin(GPIOA, SPI3_CS_SDCARD_Pin|SPI3_CS_Pin, GPIO_PIN_SET);

  /*Configure GPIO pin Output Level */
  HAL_GPIO_WritePin(DCRS_GPIO_Port, DCRS_Pin, GPIO_PIN_RESET);

  /*Configure GPIO pin Output Level */
  HAL_GPIO_WritePin(SPI3_CS_TOUCH_GPIO_Port, SPI3_CS_TOUCH_Pin, GPIO_PIN_SET);

  /*Configure GPIO pin : B1_Pin */
  GPIO_InitStruct.Pin = B1_Pin;
  GPIO_InitStruct.Mode = GPIO_MODE_IT_RISING;
  GPIO_InitStruct.Pull = GPIO_NOPULL;
  HAL_GPIO_Init(B1_GPIO_Port, &GPIO_InitStruct);

  /*Configure GPIO pin : PEN_IRQ_Pin */
  GPIO_InitStruct.Pin = PEN_IRQ_Pin;
  GPIO_InitStruct.Mode = GPIO_MODE_INPUT;
  GPIO_InitStruct.Pull = GPIO_NOPULL;
  HAL_GPIO_Init(PEN_IRQ_GPIO_Port, &GPIO_InitStruct);

  /*Configure GPIO pins : SPI3_CS_SDCARD_Pin SPI3_CS_Pin */
  GPIO_InitStruct.Pin = SPI3_CS_SDCARD_Pin|SPI3_CS_Pin;
  GPIO_InitStruct.Mode = GPIO_MODE_OUTPUT_PP;
  GPIO_InitStruct.Pull = GPIO_PULLUP;
  GPIO_InitStruct.Speed = GPIO_SPEED_FREQ_VERY_HIGH;
  HAL_GPIO_Init(GPIOA, &GPIO_InitStruct);

  /*Configure GPIO pin : LeftBTN_down_Pin */
  GPIO_InitStruct.Pin = LeftBTN_down_Pin;
  GPIO_InitStruct.Mode = GPIO_MODE_INPUT;
  GPIO_InitStruct.Pull = GPIO_PULLUP;
  HAL_GPIO_Init(LeftBTN_down_GPIO_Port, &GPIO_InitStruct);

  /*Configure GPIO pin : DCRS_Pin */
  GPIO_InitStruct.Pin = DCRS_Pin;
  GPIO_InitStruct.Mode = GPIO_MODE_OUTPUT_PP;
  GPIO_InitStruct.Pull = GPIO_NOPULL;
  GPIO_InitStruct.Speed = GPIO_SPEED_FREQ_VERY_HIGH;
  HAL_GPIO_Init(DCRS_GPIO_Port, &GPIO_InitStruct);

  /*Configure GPIO pin : SPI3_CS_TOUCH_Pin */
  GPIO_InitStruct.Pin = SPI3_CS_TOUCH_Pin;
  GPIO_InitStruct.Mode = GPIO_MODE_OUTPUT_PP;
  GPIO_InitStruct.Pull = GPIO_PULLUP;
  GPIO_InitStruct.Speed = GPIO_SPEED_FREQ_VERY_HIGH;
  HAL_GPIO_Init(SPI3_CS_TOUCH_GPIO_Port, &GPIO_InitStruct);

  /*Configure GPIO pin : LeftBTN_right_Pin */
  GPIO_InitStruct.Pin = LeftBTN_right_Pin;
  GPIO_InitStruct.Mode = GPIO_MODE_INPUT;
  GPIO_InitStruct.Pull = GPIO_PULLUP;
  HAL_GPIO_Init(LeftBTN_right_GPIO_Port, &GPIO_InitStruct);

  /* EXTI interrupt init*/
  HAL_NVIC_SetPriority(EXTI15_10_IRQn, 0, 0);
  HAL_NVIC_EnableIRQ(EXTI15_10_IRQn);

}

/* USER CODE BEGIN 4 */
void HAL_TIM_PeriodElapsedCallback(TIM_HandleTypeDef *htim){
typedef enum{
    key_up,
    key_upping,
    key_downing,
    key_down
} KEY_STATE;
    static KEY_STATE L_btn_state = key_up;
    static KEY_STATE L_btn_state_last = key_up;
    static KEY_STATE R_btn_state = key_up;
    static KEY_STATE R_btn_state_last = key_up;
    if( htim->Instance == TIM4) {
        if(type == 2) {
            if (L_btn_state == key_down && L_btn_state_last != L_btn_state) {
                if( laserBuff.state == LaserShow && laserBuff.owner == &redTank ) {
                    laserBuff.state = LaserShoot;
                    play_sound(Sound_shoot_len, (uint16_t *)audioFile_shoot);
                }else BulletShoot(&redTank);
            }
            L_btn_state_last = L_btn_state;
            if (R_btn_state == key_down && R_btn_state_last != R_btn_state) {
                if( laserBuff.state == LaserShow && laserBuff.owner == &greenTank ) {
                    laserBuff.state = LaserShoot;
                    play_sound(Sound_shoot_len, (uint16_t *)audioFile_shoot);
                }else BulletShoot(&greenTank);
            }
            R_btn_state_last = R_btn_state;
        }else if (type == 1){
            if (L_btn_state == key_down && L_btn_state_last != L_btn_state) {
                BulletShoot(&greenTank);
            }
            L_btn_state_last = L_btn_state;
        }
    }else if ( htim->Instance == TIM5 ){
        if( HAL_GPIO_ReadPin(LeftBTN_right_GPIO_Port, LeftBTN_right_Pin) == GPIO_PIN_RESET )
        {
            if (L_btn_state == key_up)
                L_btn_state = key_downing;
            else if (L_btn_state == key_downing)
                L_btn_state = key_down;
            else if (L_btn_state == key_upping)
                L_btn_state = key_down;
        }
        if( HAL_GPIO_ReadPin(LeftBTN_right_GPIO_Port, LeftBTN_right_Pin) == GPIO_PIN_SET )
        {
            if (L_btn_state == key_down)
                L_btn_state = key_upping;
            else if (L_btn_state == key_upping)
                L_btn_state = key_up;
            else if (L_btn_state == key_downing)
                L_btn_state = key_up;
        }
        if( keyDownTest() == Key_Shoot )
        {
            if (R_btn_state == key_up)
                R_btn_state = key_downing;
            else if (R_btn_state == key_downing)
                R_btn_state = key_down;
            else if (R_btn_state == key_upping)
                R_btn_state = key_down;
        }
        if( keyDownTest() == Key_NoPressed) {
            if (R_btn_state == key_down)
                R_btn_state = key_upping;
            else if (R_btn_state == key_upping)
                R_btn_state = key_up;
            else if (R_btn_state == key_downing)
                R_btn_state = key_up;
        }
        if( keyDownTest() == Key_Reset && HAL_GPIO_ReadPin(LeftBTN_down_GPIO_Port, LeftBTN_down_Pin) == GPIO_PIN_RESET )
        {
            HAL_NVIC_SystemReset();
        }
    }else if( htim->Instance == TIM6 ) {
        printf("%d\n", FPS);
        FPS = 0;
    }
}
/* USER CODE END 4 */

void Error_Handler(void)
{
  __disable_irq();
  while (1)
  {
  }
}
